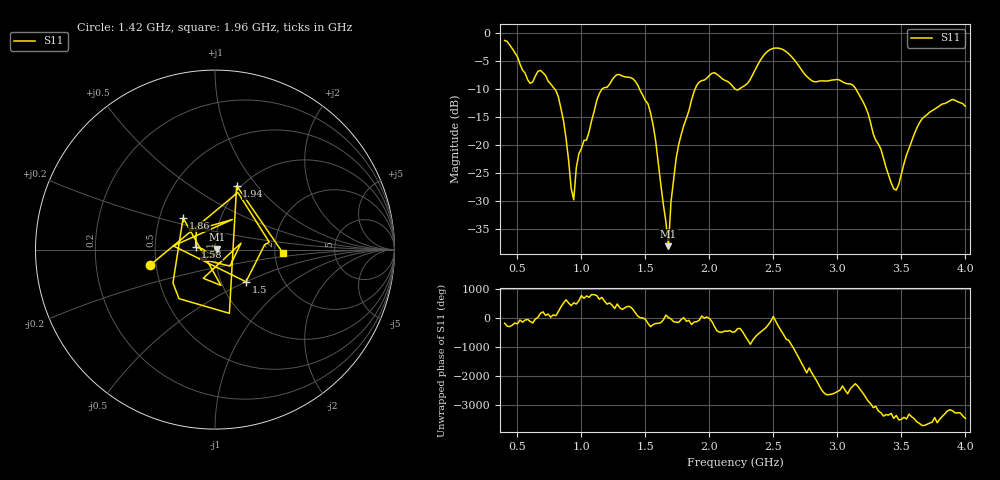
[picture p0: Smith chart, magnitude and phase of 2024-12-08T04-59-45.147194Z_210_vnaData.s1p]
!Created with skrf (http://scikit-rf.org).
# Hz S RI R 50.0
!freq ReS11 ImS11
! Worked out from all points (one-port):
!   181 points, 400 MHz to 4 GHz, reference 50 ohm
!   lowest |S11| = -38.1 dB at 1.68 GHz (marker M1), VSWR 1.03, Z = 51.2 + j0.377 ohm
!   |S11| at or under -10 dB: 790.9 MHz to 1.162 GHz (370.6 MHz wide, 38 % of centre); 1.454 GHz to 1.889 GHz (435.1 MHz wide, 26 % of centre); 3.144 GHz to end of sweep (the widest 3 of 4)
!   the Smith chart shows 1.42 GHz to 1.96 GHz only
!   S11 on the Smith chart (normalised r, x): 1.42 GHz: 0.46, -0.09; 1.5 GHz: 1.31, -0.50; 1.58 GHz: 0.80, +0.02; 1.86 GHz: 0.66, +0.25; 1.94 GHz: 0.95, +0.79; 1.96 GHz: 2.22, -0.10
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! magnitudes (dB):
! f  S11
! 400 MHz  -1.3
! 600 MHz  -9.0
! 720 MHz  -7.6
! 800 MHz  -10.3
! 860 MHz  -15.7
! 940 MHz  -29.8
! 980 MHz  -21.6
! 1.12 GHz  -12.0
! 1.3 GHz  -7.4
! 1.42 GHz  -8.6
! 1.5 GHz  -12.1
! 1.58 GHz  -19.3
! 1.68 GHz  -38.1
! 1.7 GHz  -30.1
! 1.76 GHz  -19.9
! 1.86 GHz  -12.0
! 1.94 GHz  -8.5
! 1.96 GHz  -8.4
! 2.2 GHz  -10.0
! 2.48 GHz  -2.9
! 2.66 GHz  -4.7
! 2.82 GHz  -8.7
! 3.1 GHz  -9.1
! 3.22 GHz  -13.2
! 3.44 GHz  -27.8
! 3.56 GHz  -20.6
! 3.72 GHz  -14.2
! 4 GHz  -13.1
